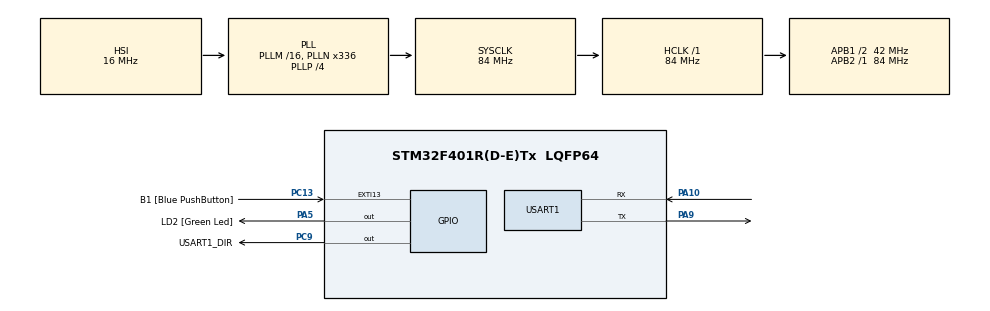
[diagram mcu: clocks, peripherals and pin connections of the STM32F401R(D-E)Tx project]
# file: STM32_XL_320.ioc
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Mcu.Family=STM32F4
Mcu.Name=STM32F401R(D-E)Tx
Mcu.Package=LQFP64
NVIC.PriorityGroup=NVIC_PRIORITYGROUP_0
NVIC.USART1_IRQn=true\:0\:0\:false\:false\:true\:true
PA10.Mode=Asynchronous
PA10.Signal=USART1_RX
PA13.GPIO_Label=TMS
PA13.Signal=SYS_JTMS-SWDIO
PA14.GPIO_Label=TCK
PA14.Signal=SYS_JTCK-SWCLK
PA2.GPIO_Label=USART_TX
PA2.GPIO_Mode=GPIO_MODE_AF_PP
PA2.GPIO_PuPd=GPIO_NOPULL
PA2.GPIO_Speed=GPIO_SPEED_FREQ_LOW
PA2.Signal=USART2_TX
PA3.GPIO_Label=USART_RX
PA3.GPIO_Mode=GPIO_MODE_AF_PP
PA3.GPIO_PuPd=GPIO_NOPULL
PA3.GPIO_Speed=GPIO_SPEED_FREQ_LOW
PA3.Signal=USART2_RX
PA5.GPIO_Label=LD2 [Green Led]
PA5.GPIO_Mode=GPIO_MODE_OUTPUT_PP
PA5.GPIO_PuPd=GPIO_NOPULL
PA5.GPIO_Speed=GPIO_SPEED_FREQ_LOW
PA5.Signal=GPIO_Output
PA9.Mode=Asynchronous
PA9.Signal=USART1_TX
PB3.GPIO_Label=SWO
PB3.Signal=SYS_JTDO-SWO
PC13-ANTI_TAMP.GPIO_Label=B1 [Blue PushButton]
PC13-ANTI_TAMP.GPIO_ModeDefaultEXTI=GPIO_MODE_IT_FALLING
PC13-ANTI_TAMP.GPIO_PuPd=GPIO_NOPULL
PC13-ANTI_TAMP.Signal=GPXTI13
PC14-OSC32_IN.Signal=RCC_OSC32_IN
PC15-OSC32_OUT.Signal=RCC_OSC32_OUT
PC9.GPIO_Label=USART1_DIR
PC9.PinState=GPIO_PIN_RESET
PC9.Signal=GPIO_Output
PH0\ -\ OSC_IN.Signal=RCC_OSC_IN
PH1\ -\ OSC_OUT.Signal=RCC_OSC_OUT
ProjectManager.HeapSize=0x200
ProjectManager.StackSize=0x400
ProjectManager.TargetToolchain=Makefile
RCC.AHBFreq_Value=84000000
RCC.APB1CLKDivider=RCC_HCLK_DIV2
RCC.APB1Freq_Value=42000000
RCC.APB1TimFreq_Value=84000000
RCC.APB2Freq_Value=84000000
RCC.APB2TimFreq_Value=84000000
RCC.CortexFreq_Value=84000000
RCC.HCLKFreq_Value=84000000
RCC.HSE_VALUE=8000000
RCC.HSI_VALUE=16000000
RCC.LSE_VALUE=32768
RCC.PLLN=336
RCC.PLLP=RCC_PLLP_DIV4
RCC.PLLQ=7
RCC.SYSCLKFreq_VALUE=84000000
RCC.SYSCLKSource=RCC_SYSCLKSOURCE_PLLCLK
RCC.VCOOutputFreq_Value=336000000
USART1.VirtualMode=VM_ASYNC
board=NUCLEO-F401RE

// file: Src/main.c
/**
  ******************************************************************************
  * File Name          : main.c
  * Description        : Main program body
  ******************************************************************************
  ** This notice applies to any and all portions of this file
  * that are not between comment pairs USER CODE BEGIN and
  * USER CODE END. Other portions of this file, whether
  * inserted by the user or by software development tools
  * are owned by their respective copyright owners.
  *
  * COPYRIGHT(c) 2017 STMicroelectronics
  *
  * Redistribution and use in source and binary forms, with or without modification,
  * are permitted provided that the following conditions are met:
  *   1. Redistributions of source code must retain the above copyright notice,
  *      this list of conditions and the following disclaimer.
  *   2. Redistributions in binary form must reproduce the above copyright notice,
  *      this list of conditions and the following disclaimer in the documentation
  *      and/or other materials provided with the distribution.
  *   3. Neither the name of STMicroelectronics nor the names of its contributors
  *      may be used to endorse or promote products derived from this software
  *      without specific prior written permission.
  *
  * THIS SOFTWARE IS PROVIDED BY THE COPYRIGHT HOLDERS AND CONTRIBUTORS "AS IS"
  * AND ANY EXPRESS OR IMPLIED WARRANTIES, INCLUDING, BUT NOT LIMITED TO, THE
  * IMPLIED WARRANTIES OF MERCHANTABILITY AND FITNESS FOR A PARTICULAR PURPOSE ARE
  * DISCLAIMED. IN NO EVENT SHALL THE COPYRIGHT HOLDER OR CONTRIBUTORS BE LIABLE
  * FOR ANY DIRECT, INDIRECT, INCIDENTAL, SPECIAL, EXEMPLARY, OR CONSEQUENTIAL
  * DAMAGES (INCLUDING, BUT NOT LIMITED TO, PROCUREMENT OF SUBSTITUTE GOODS OR
  * SERVICES; LOSS OF USE, DATA, OR PROFITS; OR BUSINESS INTERRUPTION) HOWEVER
  * CAUSED AND ON ANY THEORY OF LIABILITY, WHETHER IN CONTRACT, STRICT LIABILITY,
  * OR TORT (INCLUDING NEGLIGENCE OR OTHERWISE) ARISING IN ANY WAY OUT OF THE USE
  * OF THIS SOFTWARE, EVEN IF ADVISED OF THE POSSIBILITY OF SUCH DAMAGE.
  *
  ******************************************************************************
  */

#include "main.h"
#include "stm32f4xx_hal.h"

/* USER CODE BEGIN Includes */
#include "xl_320.h"
/* USER CODE END Includes */

UART_HandleTypeDef huart1;

/* USER CODE BEGIN PV */
/* Private variables ---------------------------------------------------------*/

/* USER CODE END PV */

void SystemClock_Config(void);
static void MX_GPIO_Init(void);
static void MX_USART1_UART_Init(void);

/* USER CODE BEGIN PFP */
/* Private function prototypes -----------------------------------------------*/

/* USER CODE END PFP */

/* USER CODE BEGIN 0 */
XL_Interface interface;

uint8_t XL_320_Send_HAL(uint8_t *data, uint16_t size, uint32_t timeout){
  HAL_StatusTypeDef status = HAL_UART_Transmit(&huart1, data, size, timeout);
  return (status==HAL_OK)?0:1;return 0;//Temporaire
}

void XL_320_Set_Direction_HAL(XL_Direction dir){
  HAL_GPIO_WritePin(USART1_DIR_GPIO_Port, USART1_DIR_Pin, (dir==XL_SEND)?GPIO_PIN_SET:GPIO_PIN_RESET);
}

uint8_t XL_320_Receive_HAL(uint8_t *buffer, uint16_t size, uint32_t timeout){
  HAL_StatusTypeDef status = HAL_UART_Receive(&huart1, buffer, size, timeout);
  return (status==HAL_OK)?0:1;
}

void XL_320_Delay_HAL(uint32_t t){
  HAL_Delay(t);
}

/* USER CODE END 0 */

int main(void)
{

  /* MCU Configuration----------------------------------------------------------*/

  /* Reset of all peripherals, Initializes the Flash interface and the Systick. */
  HAL_Init();

  /* Configure the system clock */
  SystemClock_Config();

  /* Initialize all configured peripherals */
  MX_GPIO_Init();
  MX_USART1_UART_Init();

  /* USER CODE BEGIN 2 */
  //Initialisation interface
  interface.send = XL_320_Send_HAL;
  interface.set_direction = XL_320_Set_Direction_HAL;
  interface.receive = XL_320_Receive_HAL;
  interface.delay = XL_320_Delay_HAL;

  HAL_Delay(1000);

  XL broadcast = (XL) {.interface = &interface, .id = XL_BROADCAST};

  XL servo;
  uint16_t nb_servos = 0;

  XL_Discover(&interface, &servo, 2, &nb_servos);
  XL_Say_Hello(&servo);

  //Test Wheel Mode
  /*
  XL_Power_Off(&servo, XL_NOW);
  XL_Configure_CW_Angle_Limit(&servo, 0);
  XL_Configure_CCW_Angle_Limit(&servo, 0);
  XL_Configure_Control_Mode(&servo, XL_WHEEL_MODE);
  XL_Power_On(&servo, XL_NOW);
  XL_Set_Goal_Speed_Wheel(&servo, 512, XL_CLOCKWISE, XL_NOW);
  */

  //Test Join Mode
  /*
  XL_Power_Off(&servo, XL_NOW);
  XL_Configure_CW_Angle_Limit(&servo, 0);
  XL_Configure_CCW_Angle_Limit(&servo, 1023);
  XL_Configure_Control_Mode(&servo, XL_JOIN_MODE);
  XL_Power_On(&servo, XL_NOW);
  XL_Set_Goal_Speed_Wheel(&servo, 512, XL_CLOCKWISE, XL_NOW);
  */

  XL_Power_Off(&servo, XL_LATER);
  HAL_Delay(5000);
  XL_Action(&servo);

  //while(1);

  /* USER CODE END 2 */

  /* Infinite loop */
  /* USER CODE BEGIN WHILE */
  uint16_t data;
  while (1)
  {
    XL_Get_Current_Position(&servo, &data);
    data += 1;

    /*
    HAL_Delay(2000);
    XL_Set_Goal_Position(&servo, 000, XL_NOW);
    HAL_Delay(2000);
    XL_Set_Goal_Position(&servo, 1023, XL_NOW);
    */

  /* USER CODE END WHILE */

  }

}

/** System Clock Configuration
*/
void SystemClock_Config(void)
{

  RCC_OscInitTypeDef RCC_OscInitStruct;
  RCC_ClkInitTypeDef RCC_ClkInitStruct;

    /**Configure the main internal regulator output voltage
    */
  __HAL_RCC_PWR_CLK_ENABLE();

  __HAL_PWR_VOLTAGESCALING_CONFIG(PWR_REGULATOR_VOLTAGE_SCALE2);

    /**Initializes the CPU, AHB and APB busses clocks
    */
  RCC_OscInitStruct.OscillatorType = RCC_OSCILLATORTYPE_HSI;
  RCC_OscInitStruct.HSIState = RCC_HSI_ON;
  RCC_OscInitStruct.HSICalibrationValue = 16;
  RCC_OscInitStruct.PLL.PLLState = RCC_PLL_ON;
  RCC_OscInitStruct.PLL.PLLSource = RCC_PLLSOURCE_HSI;
  RCC_OscInitStruct.PLL.PLLM = 16;
  RCC_OscInitStruct.PLL.PLLN = 336;
  RCC_OscInitStruct.PLL.PLLP = RCC_PLLP_DIV4;
  RCC_OscInitStruct.PLL.PLLQ = 7;
  if (HAL_RCC_OscConfig(&RCC_OscInitStruct) != HAL_OK)
  {
    _Error_Handler(__FILE__, __LINE__);
  }

    /**Initializes the CPU, AHB and APB busses clocks
    */
  RCC_ClkInitStruct.ClockType = RCC_CLOCKTYPE_HCLK|RCC_CLOCKTYPE_SYSCLK
                              |RCC_CLOCKTYPE_PCLK1|RCC_CLOCKTYPE_PCLK2;
  RCC_ClkInitStruct.SYSCLKSource = RCC_SYSCLKSOURCE_PLLCLK;
  RCC_ClkInitStruct.AHBCLKDivider = RCC_SYSCLK_DIV1;
  RCC_ClkInitStruct.APB1CLKDivider = RCC_HCLK_DIV2;
  RCC_ClkInitStruct.APB2CLKDivider = RCC_HCLK_DIV1;

  if (HAL_RCC_ClockConfig(&RCC_ClkInitStruct, FLASH_LATENCY_2) != HAL_OK)
  {
    _Error_Handler(__FILE__, __LINE__);
  }

    /**Configure the Systick interrupt time
    */
  HAL_SYSTICK_Config(HAL_RCC_GetHCLKFreq()/1000);

    /**Configure the Systick
    */
  HAL_SYSTICK_CLKSourceConfig(SYSTICK_CLKSOURCE_HCLK);

  /* SysTick_IRQn interrupt configuration */
  HAL_NVIC_SetPriority(SysTick_IRQn, 0, 0);
}

/* USART1 init function */
static void MX_USART1_UART_Init(void)
{

  huart1.Instance = USART1;
  huart1.Init.BaudRate = 1000000;
  huart1.Init.WordLength = UART_WORDLENGTH_8B;
  huart1.Init.StopBits = UART_STOPBITS_1;
  huart1.Init.Parity = UART_PARITY_NONE;
  huart1.Init.Mode = UART_MODE_TX_RX;
  huart1.Init.HwFlowCtl = UART_HWCONTROL_NONE;
  huart1.Init.OverSampling = UART_OVERSAMPLING_16;
  if (HAL_UART_Init(&huart1) != HAL_OK)
  {
    _Error_Handler(__FILE__, __LINE__);
  }

}

/** Configure pins as
        * Analog
        * Input
        * Output
        * EVENT_OUT
        * EXTI
        * Free pins are configured automatically as Analog (this feature is enabled through
        * the Code Generation settings)
     PA2   ------> USART2_TX
     PA3   ------> USART2_RX
*/
static void MX_GPIO_Init(void)
{

  GPIO_InitTypeDef GPIO_InitStruct;

  /* GPIO Ports Clock Enable */
  __HAL_RCC_GPIOC_CLK_ENABLE();
  __HAL_RCC_GPIOH_CLK_ENABLE();
  __HAL_RCC_GPIOA_CLK_ENABLE();
  __HAL_RCC_GPIOB_CLK_ENABLE();
  __HAL_RCC_GPIOD_CLK_ENABLE();

  /*Configure GPIO pin Output Level */
  HAL_GPIO_WritePin(LD2_GPIO_Port, LD2_Pin, GPIO_PIN_RESET);

  /*Configure GPIO pin Output Level */
  HAL_GPIO_WritePin(USART1_DIR_GPIO_Port, USART1_DIR_Pin, GPIO_PIN_RESET);

  /*Configure GPIO pin : B1_Pin */
  GPIO_InitStruct.Pin = B1_Pin;
  GPIO_InitStruct.Mode = GPIO_MODE_IT_FALLING;
  GPIO_InitStruct.Pull = GPIO_NOPULL;
  HAL_GPIO_Init(B1_GPIO_Port, &GPIO_InitStruct);

  /*Configure GPIO pins : PC0 PC1 PC2 PC3
                           PC4 PC5 PC6 PC7
                           PC8 PC10 PC11 PC12 */
  GPIO_InitStruct.Pin = GPIO_PIN_0|GPIO_PIN_1|GPIO_PIN_2|GPIO_PIN_3
                          |GPIO_PIN_4|GPIO_PIN_5|GPIO_PIN_6|GPIO_PIN_7
                          |GPIO_PIN_8|GPIO_PIN_10|GPIO_PIN_11|GPIO_PIN_12;
  GPIO_InitStruct.Mode = GPIO_MODE_ANALOG;
  GPIO_InitStruct.Pull = GPIO_NOPULL;
  HAL_GPIO_Init(GPIOC, &GPIO_InitStruct);

  /*Configure GPIO pins : PA0 PA1 PA4 PA6
                           PA7 PA8 PA11 PA12
                           PA15 */
  GPIO_InitStruct.Pin = GPIO_PIN_0|GPIO_PIN_1|GPIO_PIN_4|GPIO_PIN_6
                          |GPIO_PIN_7|GPIO_PIN_8|GPIO_PIN_11|GPIO_PIN_12
                          |GPIO_PIN_15;
  GPIO_InitStruct.Mode = GPIO_MODE_ANALOG;
  GPIO_InitStruct.Pull = GPIO_NOPULL;
  HAL_GPIO_Init(GPIOA, &GPIO_InitStruct);

  /*Configure GPIO pins : USART_TX_Pin USART_RX_Pin */
  GPIO_InitStruct.Pin = USART_TX_Pin|USART_RX_Pin;
  GPIO_InitStruct.Mode = GPIO_MODE_AF_PP;
  GPIO_InitStruct.Pull = GPIO_NOPULL;
  GPIO_InitStruct.Speed = GPIO_SPEED_FREQ_LOW;
  GPIO_InitStruct.Alternate = GPIO_AF7_USART2;
  HAL_GPIO_Init(GPIOA, &GPIO_InitStruct);

  /*Configure GPIO pin : LD2_Pin */
  GPIO_InitStruct.Pin = LD2_Pin;
  GPIO_InitStruct.Mode = GPIO_MODE_OUTPUT_PP;
  GPIO_InitStruct.Pull = GPIO_NOPULL;
  GPIO_InitStruct.Speed = GPIO_SPEED_FREQ_LOW;
  HAL_GPIO_Init(LD2_GPIO_Port, &GPIO_InitStruct);

  /*Configure GPIO pins : PB0 PB1 PB2 PB10
                           PB12 PB13 PB14 PB15
                           PB4 PB5 PB6 PB7
                           PB8 PB9 */
  GPIO_InitStruct.Pin = GPIO_PIN_0|GPIO_PIN_1|GPIO_PIN_2|GPIO_PIN_10
                          |GPIO_PIN_12|GPIO_PIN_13|GPIO_PIN_14|GPIO_PIN_15
                          |GPIO_PIN_4|GPIO_PIN_5|GPIO_PIN_6|GPIO_PIN_7
                          |GPIO_PIN_8|GPIO_PIN_9;
  GPIO_InitStruct.Mode = GPIO_MODE_ANALOG;
  GPIO_InitStruct.Pull = GPIO_NOPULL;
  HAL_GPIO_Init(GPIOB, &GPIO_InitStruct);

  /*Configure GPIO pin : USART1_DIR_Pin */
  GPIO_InitStruct.Pin = USART1_DIR_Pin;
  GPIO_InitStruct.Mode = GPIO_MODE_OUTPUT_PP;
  GPIO_InitStruct.Pull = GPIO_NOPULL;
  GPIO_InitStruct.Speed = GPIO_SPEED_FREQ_LOW;
  HAL_GPIO_Init(USART1_DIR_GPIO_Port, &GPIO_InitStruct);

  /*Configure GPIO pin : PD2 */
  GPIO_InitStruct.Pin = GPIO_PIN_2;
  GPIO_InitStruct.Mode = GPIO_MODE_ANALOG;
  GPIO_InitStruct.Pull = GPIO_NOPULL;
  HAL_GPIO_Init(GPIOD, &GPIO_InitStruct);

}

void _Error_Handler(char * file, int line)
{
  while(1)
  {
  }
}

/************************ (C) COPYRIGHT STMicroelectronics *****END OF FILE****/
